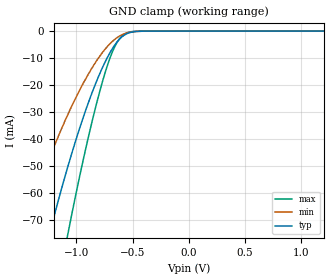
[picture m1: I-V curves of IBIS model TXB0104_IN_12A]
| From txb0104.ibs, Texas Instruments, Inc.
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[Model]   TXB0104_IN_12A
Model_type  Input
Vinl=0.42
Vinh=0.78
| variable   typ   min   max
C_comp   3.10pF   2.74pF   3.31pF
[Temperature Range]   40   100   -40
| Ambient temperature   25   85   -40
[Voltage range]   1.2   1.2   1.2
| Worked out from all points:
|   GND clamp passes 1 mA (typ) near -0.55 V on its own axis
[GND Clamp]
| TXB0104_IN_12A
|   Voltage   I(typ)   I(min)   I(max)
-5.5V     -1.044A    -792.2mA   -1.306A
-1.49V    -118.9mA   -76.3mA    -173.2mA
-1.445V   -110.7mA   -70.75mA   -161.9mA
-1.23V    -73.88mA   -46.23mA   -109.9mA
-1.075V   -50.27mA   -30.94mA   -75.32mA
-1.04V    -45.35mA   -27.8mA    -67.96mA
-905mV    -28.01mA   -16.85mA   -41.57mA
-770mV    -13.77mA   -8.095mA   -19.13mA
-670mV    -5.912mA   -3.496mA   -6.845mA
-580mV    -1.682mA   -1.115mA   -1.36mA
-405mV    -29.17uA   -32.54uA   -7.015uA
1.2V      84.13pA    453.1pA    9.863pA
